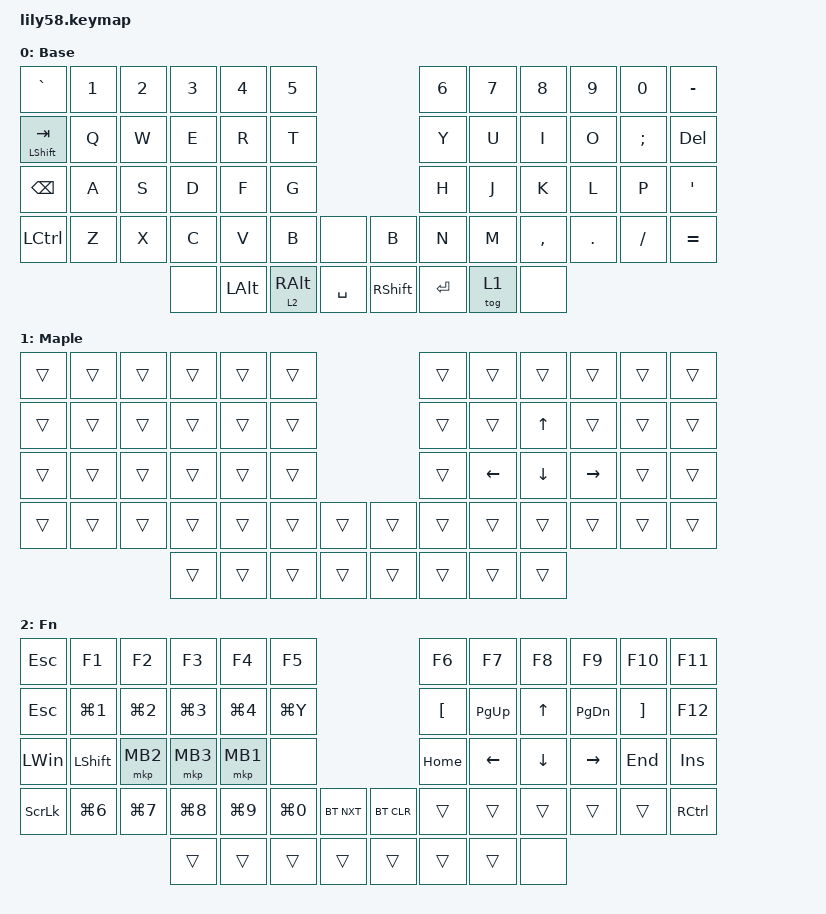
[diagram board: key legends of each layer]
/*
 * Copyright (c) 2020 The ZMK Contributors
 *
 * SPDX-License-Identifier: MIT
 */

#include <behaviors.dtsi>
#include <dt-bindings/zmk/bt.h>
#include <dt-bindings/zmk/keys.h>
#include <dt-bindings/zmk/mouse.h>

/ {
    keymap {
        compatible = "zmk,keymap";

        default_layer {
            // ------------------------------------------------------------------------------------------------------------
            // |  ESC  |  1  |  2  |  3   |  4   |  5   |                   |  6   |  7    |  8    |  9   |   0   |   `   |
            // |  TAB  |  Q  |  W  |  E   |  R   |  T   |                   |  Y   |  U    |  I    |  O   |   P   |   -   |
            // |  CTRL |  A  |  S  |  D   |  F   |  G   |                   |  H   |  J    |  K    |  L   |   ;   |   '   |
            // | SHIFT |  Z  |  X  |  C   |  V   |  B   |   "["  |  |  "]"  |  N   |  M    |  ,    |  .   |   /   | SHIFT |
            //                     | ALT  | GUI  | LOWER|  SPACE |  | ENTER | RAISE| BSPC  | GUI   |

            label = "Base";
            bindings = <
&kp GRAVE         &kp N1  &kp N2  &kp N3  &kp N4        &kp N5                                         &kp N6     &kp N7  &kp N8     &kp N9   &kp N0    &kp MINUS
&mt LSHFT TAB     &kp Q   &kp W   &kp E   &kp R         &kp T                                          &kp Y      &kp U   &kp I      &kp O    &kp SEMI  &kp DEL
&kp BACKSPACE     &kp A   &kp S   &kp D   &kp F         &kp G                                          &kp H      &kp J   &kp K      &kp L    &kp P     &kp APOS
&kp LEFT_CONTROL  &kp Z   &kp X   &kp C   &kp V         &kp B            &none        &kp B            &kp N      &kp M   &kp COMMA  &kp DOT  &kp FSLH  &kp EQUAL
                                  &none   &kp LEFT_ALT  &lt 2 RIGHT_ALT  &kp SPACE    &kp RIGHT_SHIFT  &kp ENTER  &tog 1  &none
            >;
        };

        Maplestory {
            bindings = <
&trans  &trans  &trans  &trans  &trans  &trans                    &trans  &trans          &trans        &trans           &trans  &trans
&trans  &trans  &trans  &trans  &trans  &trans                    &trans  &trans          &kp UP_ARROW  &trans           &trans  &trans
&trans  &trans  &trans  &trans  &trans  &trans                    &trans  &kp LEFT_ARROW  &kp DOWN      &kp RIGHT_ARROW  &trans  &trans
&trans  &trans  &trans  &trans  &trans  &trans  &trans    &trans  &trans  &trans          &trans        &trans           &trans  &trans
                        &trans  &trans  &trans  &trans    &trans  &trans  &trans          &trans
            >;

            label = "Maple";
        };

        Function {
            // ------------------------------------------------------------------------------------------------------------
            // | BTCLR | BT1 | BT2 |  BT3 |  BT4 |  BT5 |                   |      |       |       |      |       |       |
            // |  F1   |  F2 |  F3 |  F4  |  F5  |  F6  |                   |  F7  |  F8   |  F9   |  F10 |  F11  |  F12  |
            // |   `   |  !  |  @  |  #   |  $   |  %   |                   |  ^   |  &    |  *    |  (   |   )   |   ~   |
            // |       |     |     |      |      |      |        |  |       |      |  _    |  +    |  {   |   }   |  "|"  |
            //                     |      |      |      |        |  |       |      |       |       |

            bindings = <
&kp ESCAPE      &kp F1            &kp F2            &kp F3            &kp F4            &kp F5                                      &kp F6            &kp F7       &kp F8    &kp F9         &kp F10            &kp F11
&kp ESCAPE      &kp LG(NUMBER_1)  &kp LG(NUMBER_2)  &kp LG(NUMBER_3)  &kp LG(NUMBER_4)  &kp LG(Y)                                   &kp LEFT_BRACKET  &kp PAGE_UP  &kp UP    &kp PAGE_DOWN  &kp RIGHT_BRACKET  &kp F12
&kp LEFT_WIN    &kp LEFT_SHIFT    &mkp MB2          &mkp MB3          &mkp MB1          &none                                       &kp HOME          &kp LEFT     &kp DOWN  &kp RIGHT      &kp END            &kp INS
&kp SCROLLLOCK  &kp LG(NUMBER_6)  &kp LG(N7)        &kp LG(NUMBER_8)  &kp LG(N9)        &kp LG(NUMBER_0)  &bt BT_NXT    &bt BT_CLR  &trans            &trans       &trans    &trans         &trans             &kp RCTRL
                                                    &trans            &trans            &trans            &trans        &trans      &trans            &trans       &none
            >;

            label = "Fn";
        };
    };
};
